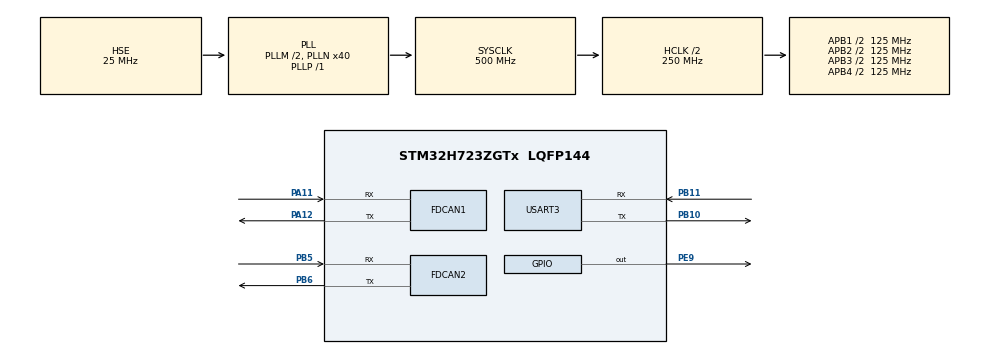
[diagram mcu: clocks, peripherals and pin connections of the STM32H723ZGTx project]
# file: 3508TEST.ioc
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CORTEX_M7.default_mode_Activation=1
FDCAN1.CalculateBaudRateNominal=1000000
FDCAN1.CalculateTimeBitNominal=1000
FDCAN1.CalculateTimeQuantumNominal=8.0
FDCAN1.NominalPrescaler=1
FDCAN1.NominalTimeSeg1=99
FDCAN1.NominalTimeSeg2=25
FDCAN1.RxFifo0ElmtsNbr=2
FDCAN1.StdFiltersNbr=1
FDCAN2.CalculateBaudRateNominal=1000000
FDCAN2.CalculateTimeBitNominal=1000
FDCAN2.CalculateTimeQuantumNominal=8.0
FDCAN2.NominalPrescaler=1
FDCAN2.NominalTimeSeg1=99
FDCAN2.NominalTimeSeg2=25
FDCAN2.RxFifo0ElmtsNbr=2
FDCAN2.StdFiltersNbr=1
FDCAN2.TxFifoQueueElmtsNbr=2
Mcu.Family=STM32H7
Mcu.Name=STM32H723ZGTx
Mcu.Package=LQFP144
NVIC.FDCAN1_IT0_IRQn=true\:0\:0\:false\:false\:true\:true\:true\:true
NVIC.FDCAN2_IT0_IRQn=true\:0\:0\:false\:false\:true\:true\:true\:true
NVIC.PriorityGroup=NVIC_PRIORITYGROUP_4
NVIC.TIM1_UP_IRQn=true\:0\:0\:false\:false\:true\:true\:true\:true
NVIC.USART3_IRQn=true\:0\:0\:false\:false\:true\:true\:true\:true
PA11.Mode=FDCAN_Activate
PA11.Signal=FDCAN1_RX
PA12.Mode=FDCAN_Activate
PA12.Signal=FDCAN1_TX
PA13(JTMS/SWDIO).Mode=Serial_Wire
PA13(JTMS/SWDIO).Signal=DEBUG_JTMS-SWDIO
PA14(JTCK/SWCLK).Mode=Serial_Wire
PA14(JTCK/SWCLK).Signal=DEBUG_JTCK-SWCLK
PB10.Mode=Asynchronous
PB10.Signal=USART3_TX
PB11.Mode=Asynchronous
PB11.Signal=USART3_RX
PB5.Mode=FDCAN_Activate
PB5.Signal=FDCAN2_RX
PB6.Mode=FDCAN_Activate
PB6.Signal=FDCAN2_TX
PE9.Signal=GPIO_Output
PH0-OSC_IN.Mode=HSE-External-Oscillator
PH0-OSC_IN.Signal=RCC_OSC_IN
PH1-OSC_OUT.Mode=HSE-External-Oscillator
PH1-OSC_OUT.Signal=RCC_OSC_OUT
ProjectManager.HeapSize=0x200
ProjectManager.StackSize=0x400
ProjectManager.TargetToolchain=MDK-ARM V5.32
RCC.ADCFreq_Value=50390625
RCC.APB1Freq_Value=125000000
RCC.APB2Freq_Value=125000000
RCC.APB3Freq_Value=125000000
RCC.APB4Freq_Value=125000000
RCC.CortexFreq_Value=500000000
RCC.D1PPRE=RCC_APB3_DIV2
RCC.D2PPRE1=RCC_APB1_DIV2
RCC.D2PPRE2=RCC_APB2_DIV2
RCC.D3PPRE=RCC_APB4_DIV2
RCC.DIVM1=2
RCC.DIVN1=40
RCC.DIVP1=1
RCC.DIVQ1=4
RCC.HCLKFreq_Value=250000000
RCC.HPRE=RCC_HCLK_DIV2
RCC.PLLFRACN=0
RCC.PLLSourceVirtual=RCC_PLLSOURCE_HSE
RCC.SYSCLKFreq_VALUE=500000000
RCC.SYSCLKSource=RCC_SYSCLKSOURCE_PLLCLK
RCC.USBFreq_Value=125000000
TIM1.Period=999
TIM1.Prescaler=249
USART3.VirtualMode-Asynchronous=VM_ASYNC
VP_MEMORYMAP_VS_MEMORYMAP.Mode=CurAppReg
VP_TIM1_VS_ClockSourceINT.Mode=Internal
board=custom

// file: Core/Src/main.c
/* USER CODE BEGIN Header */
/**
  ******************************************************************************
  * @file           : main.c
  * @brief          : Main program body
  ******************************************************************************
  * @attention
  *
  * Copyright (c) 2026 STMicroelectronics.
  * All rights reserved.
  *
  * This software is licensed under terms that can be found in the LICENSE file
  * in the root directory of this software component.
  * If no LICENSE file comes with this software, it is provided AS-IS.
  *
  ******************************************************************************
  */
/* USER CODE END Header */
#include "main.h"
#include "fdcan.h"
#include "tim.h"
#include "usart.h"
#include "gpio.h"

/* USER CODE BEGIN Includes */
#include "motor_control.h"
#include "pid.h"
#include "stdio.h"
/* USER CODE END Includes */

/* USER CODE BEGIN PD */
#define ANGLE_DEG_TO_RAW(deg)  ((deg) / 360.0f * 8192.0f)//这是角度环相关的宏定义
#define ANGLE_RAW_TO_DEG(raw)  ((raw) * 360.0f /8192.0f)//这是角度环相关的宏定义
//状态机与目标位置
typedef enum {
    STATE_INIT,           // 初始位置（最底下）
    STATE_GO_TO_POS1,     // 前往第一个高度（任务一三层高）
    STATE_HOLD_POS1,      // 在第一个高度保持（三层）
    STATE_GO_TO_POS2,     // 前往第二个高度（最高）
    STATE_HOLD_POS2,      // 在第二个高度保持（最高）
	  STATE_GO_TO_POS3,     // 前往第二个高度（最高）
    STATE_HOLD_POS3,
	STATE_GO_TO_POS4,     // 前往第二个高度（最高）
    STATE_HOLD_POS4,
	STATE_GO_TO_POS5,     // 前往第二个高度（最高）
    STATE_HOLD_POS5,
    STATE_GO_BACK,        // 回到初始高度（最下面？）
    STATE_HOLD_BACK       // 在初始高度保持（完成）
} MotorState_t;
//定义高度的圈数，先用圈数，后面再换高度吧
#define POS_INITIAL  0.0f     // 初始位置（0圈）
#define POS_LEVEL1   123.2f     // 第一个高度（1.5圈）
#define POS_LEVEL2   0.0f  // 第二个高度（3.0圈）这个数据是乱写的，别懒，去量
#define POS_LEVEL3   0.0f
//测试用保持时间，在某处暂停，后续看反馈
#define HOLD_TIME_MS 5000//停留5s
//位置到达判定阈值（没看懂这半圈是干嘛的）
#define POS_TOLERANCE 0.5f
#define GRAVITY_COMPENSATION  755.0   // 抵消重力用的前馈 755.0
#include "stm32h7xx.h"                  // Device header
#define MAX_FEEDFORWARD_LIMIT  (CURRENT_MAX * 0.6f)//前馈限幅
/* USER CODE END PD */

/* USER CODE BEGIN PV */
static uint32_t loop_counter = 0;
float  setpoint= 2500;//这个会被位置环输出覆盖的
PID_Handle_t speed_pid;
PID_Handle_t pos_pid;                   //这是角度环相关的宏定义

MotorState_t motor_state = STATE_INIT;      // 当前状态
uint32_t hold_start_tick = 0;               // 进入保持时刻
float target_revolutions =0.0f;     // 当前目标圈数（位置环设定值）float target_revolutions = POS_INITIAL;
float current_revolutions = 0.0f;   // 当前圈数，是累计吗？
uint16_t last_angle = 0;
int32_t total_rounds = 0;
uint8_t first_angle_flag = 1;
float gravity_feedforward = 0;
float gf_unloaded = 755.0f;    // 空载前馈（你之前测的值）
float gf_loaded = 1150.0f;      // 带载前馈（刚测出来的）
float target_gf = 755.0f;       // 目标前馈值（用于斜坡过渡）
float gf_step = 10.0f;          // 每 10ms 变化步长（mA）

//串口接受用
uint8_t uart_rx_buffer[1];     // 单字节接收缓存
char uart_cmd_buffer[64];           // 命令字符串缓存
uint8_t cmd_index = 0;       // 当前缓存位置
volatile uint8_t uart_cmd_ready = 0; //标志位，收到1代表收到完整命令
//uint8_t control_mode = 1;              //多环控制用到的，测试调pid的时候记得注释掉

float speed_target = 0.0f;
float output = 0.0f;
extern volatile uint8_t new_feedback_available;
/* USER CODE END PV */

void SystemClock_Config(void);
static void MPU_Config(void);

int main(void)
{

  /* USER CODE BEGIN 1 */
	//int16_t last_current = 0;   //上次发送的电流
  /* USER CODE END 1 */

  /* MPU Configuration--------------------------------------------------------*/
  MPU_Config();

  /* MCU Configuration--------------------------------------------------------*/

  /* Reset of all peripherals, Initializes the Flash interface and the Systick. */
  HAL_Init();

  /* USER CODE BEGIN Init */
//float  setpoint= 1000;
  /* USER CODE END Init */

  /* Configure the system clock */
  SystemClock_Config();

  /* Initialize all configured peripherals */
  MX_GPIO_Init();
  MX_FDCAN1_Init();
  MX_FDCAN2_Init();
  MX_USART3_UART_Init();
  MX_TIM1_Init();
  /* USER CODE BEGIN 2 */
    Motor_Init();      // ����CAN������ motor_control.c ��ĺ�����
			HAL_TIM_Base_Start_IT(&htim1);
    PID_Init(&speed_pid, 5.0f, 0.3f, 0.05f, 8000.0f);//这个是具体的pid值，然后就是kp小了第一版值是0.5，现在要调大一点？ 1.8f, 0.6f, 0.03f,8000.0f

PID_Init(&pos_pid, 250.0f, 0.05f, 6.0f, 5500.0f); //这是角度环相关的pid参数200 0.02 0.8
HAL_UART_Receive_IT(&huart3, uart_rx_buffer, 1); //串口接受pid参数用于调参
  /* USER CODE END 2 */

  /* Infinite loop */
  /* USER CODE BEGIN WHILE */
  while (1)
  {
		/*  if (uart_cmd_ready == 1)
    {
        uart_cmd_ready = 0;
        parse_uart_command(uart_cmd_buffer);  // 改 PID 参数
    }*/
			// Motor_SendCurrent((int16_t)output);
			//下面的是串口打印用的
			loop_counter++;
    if (loop_counter >= 20) {
        loop_counter = 0;
        // 打印当前状态，如果反馈标志为0则提示，但不要刷屏
         static uint8_t no_fb_cnt = 0;

        if (new_feedback_available == 1) {
            // 有新反馈，打印数据
            new_feedback_available = 0;   // 清除标志
            no_fb_cnt = 0;                // 重置无反馈计数
            printf("%.2f,%.2f,%.1f,%.1f,%.1f\r\n",
                   target_revolutions,
                   current_revolutions,
                   setpoint,
                   (float)motor_feedback_data.speed_rpm,
                   output);
        } else {
            // 无新反馈，累计警告
            no_fb_cnt++;
            if (no_fb_cnt >= 10) {
							// 连续10次（2秒）无反馈才警告
                no_fb_cnt = 0;
                printf("Warning: No CAN feedback\n");
            }
        }
			}
    /* USER CODE END WHILE */

  }
}

void SystemClock_Config(void)
{
  RCC_OscInitTypeDef RCC_OscInitStruct = {0};
  RCC_ClkInitTypeDef RCC_ClkInitStruct = {0};

  /** Supply configuration update enable
  */
  HAL_PWREx_ConfigSupply(PWR_LDO_SUPPLY);

  /** Configure the main internal regulator output voltage
  */
  __HAL_PWR_VOLTAGESCALING_CONFIG(PWR_REGULATOR_VOLTAGE_SCALE0);

  while(!__HAL_PWR_GET_FLAG(PWR_FLAG_VOSRDY)) {}

  /** Initializes the RCC Oscillators according to the specified parameters
  * in the RCC_OscInitTypeDef structure.
  */
  RCC_OscInitStruct.OscillatorType = RCC_OSCILLATORTYPE_HSE;
  RCC_OscInitStruct.HSEState = RCC_HSE_ON;
  RCC_OscInitStruct.PLL.PLLState = RCC_PLL_ON;
  RCC_OscInitStruct.PLL.PLLSource = RCC_PLLSOURCE_HSE;
  RCC_OscInitStruct.PLL.PLLM = 2;
  RCC_OscInitStruct.PLL.PLLN = 40;
  RCC_OscInitStruct.PLL.PLLP = 1;
  RCC_OscInitStruct.PLL.PLLQ = 4;
  RCC_OscInitStruct.PLL.PLLR = 2;
  RCC_OscInitStruct.PLL.PLLRGE = RCC_PLL1VCIRANGE_3;
  RCC_OscInitStruct.PLL.PLLVCOSEL = RCC_PLL1VCOWIDE;
  RCC_OscInitStruct.PLL.PLLFRACN = 0;
  if (HAL_RCC_OscConfig(&RCC_OscInitStruct) != HAL_OK)
  {
    Error_Handler();
  }

  /** Initializes the CPU, AHB and APB buses clocks
  */
  RCC_ClkInitStruct.ClockType = RCC_CLOCKTYPE_HCLK|RCC_CLOCKTYPE_SYSCLK
                              |RCC_CLOCKTYPE_PCLK1|RCC_CLOCKTYPE_PCLK2
                              |RCC_CLOCKTYPE_D3PCLK1|RCC_CLOCKTYPE_D1PCLK1;
  RCC_ClkInitStruct.SYSCLKSource = RCC_SYSCLKSOURCE_PLLCLK;
  RCC_ClkInitStruct.SYSCLKDivider = RCC_SYSCLK_DIV1;
  RCC_ClkInitStruct.AHBCLKDivider = RCC_HCLK_DIV2;
  RCC_ClkInitStruct.APB3CLKDivider = RCC_APB3_DIV2;
  RCC_ClkInitStruct.APB1CLKDivider = RCC_APB1_DIV2;
  RCC_ClkInitStruct.APB2CLKDivider = RCC_APB2_DIV2;
  RCC_ClkInitStruct.APB4CLKDivider = RCC_APB4_DIV2;

  if (HAL_RCC_ClockConfig(&RCC_ClkInitStruct, FLASH_LATENCY_3) != HAL_OK)
  {
    Error_Handler();
  }
}

/* USER CODE BEGIN 4 */

void Update_Current_Revolutions(uint16_t new_angle)
{
    // 首次上电：记录初始角度，累计圈数从0开始
       if (first_angle_flag) {
        last_angle = new_angle;
        total_rounds = 0;
        current_revolutions = (float)new_angle / 8192.0f;
        first_angle_flag = 0;
        return;
    }

    // ★★★ 关键修复：使用 int32_t 计算差值，避免截断 ★★★
    int32_t delta = (int32_t)new_angle - (int32_t)last_angle;

    // 如果变化超过半圈，说明跨过了 0 点
    if (delta >  4096) {
        total_rounds--;   // 反向跨过0（角度减小）
    } else if (delta < -4096) {
        total_rounds++;   // 正向跨过0（角度增大）
    }

    // 更新上次角度
    last_angle = new_angle;

    // 当前总圈数 = 整数圈 + 当前单圈百分比
    current_revolutions = (float)total_rounds + (float)new_angle / 8192.0f;
}

//串口信息接受
void parse_uart_command(char *cmd)
{
    char key[10];
    float value = 0.0f;

    // 尝试解析 "key value" 格式（例如 "kp 1.5"）
    if (sscanf(cmd, "%s %f", key, &value) == 2)
    {
        // 位置环的pid
        if (strcmp(key, "kp") == 0)      speed_pid.Kp = value;
        else if (strcmp(key, "ki") == 0) speed_pid.Ki = value;
        else if (strcmp(key, "kd") == 0) speed_pid.Kd = value;

        // 位置环
        else if (strcmp(key, "pkp") == 0) pos_pid.Kp = value;
        else if (strcmp(key, "pki") == 0) pos_pid.Ki = value;
        else if (strcmp(key, "pkd") == 0) pos_pid.Kd = value;

        //重力前馈
        else if (strcmp(key, "gf") == 0)  gravity_feedforward = value;

        // 发送当前数据到电脑
        else if (strcmp(key, "show") == 0)
        {
            printf("Speed: Kp=%.2f Ki=%.2f Kd=%.4f\r\n", speed_pid.Kp, speed_pid.Ki, speed_pid.Kd);
            printf("Pos:   Kp=%.2f Ki=%.2f Kd=%.4f\r\n", pos_pid.Kp, pos_pid.Ki, pos_pid.Kd);
            printf("Gravity FF: %.2f mA\r\n", gravity_feedforward);
        }
        else
        {
            printf("Unknown cmd: %s\r\n", key);
        }
    }
    else
    {
        printf("Format error, use: kp 1.5\r\n");
    }
}

void HAL_UART_RxCpltCallback(UART_HandleTypeDef *huart)
{
    if (huart->Instance == USART3)
    {
        char c = uart_rx_buffer[0];

        // 遇到换行符（回车或换行），结束一条命令
        if (c == '\r' || c == '\n')
        {
            if (cmd_index > 0)
            {
               uart_cmd_buffer[cmd_index] = '\0';        // 字符串结尾
                parse_uart_command(uart_cmd_buffer);      // 解析命令
                cmd_index = 0;                       // 复位缓存
            }
        }
        else
        {
            // 普通字符，存入缓存（防止溢出）
            if (cmd_index < 63)
            {
                uart_cmd_buffer[cmd_index++] = c;
            }
        }

        // 记得重启下一次接受
        HAL_UART_Receive_IT(&huart3, uart_rx_buffer, 1);
    }
}

// 定义一个标志，用于通知主循环执行控制
volatile uint8_t timer1_tick = 0;

// TIM1 周期中断回调（由 HAL 库在 TIM1_UP_IRQHandler 中调用）
void HAL_TIM_PeriodElapsedCallback(TIM_HandleTypeDef *htim)
{
    if (htim->Instance == TIM1)
    {

			if (motor_update_flag == 1)
    {
        motor_update_flag = 0;
			Update_Current_Revolutions(motor_feedback_data.angle);
			//电机状态切换，等会先测转一圈多少
			// ★ 前馈平滑过渡（每 10ms 执行一次）
if (gravity_feedforward < target_gf) {
    gravity_feedforward += gf_step;
    if (gravity_feedforward > target_gf) gravity_feedforward = target_gf;
} else if (gravity_feedforward > target_gf) {
    gravity_feedforward -= gf_step;
    if (gravity_feedforward < target_gf) gravity_feedforward = target_gf;
}

// 然后用 gravity_feedforward 作为前馈值
float feedforward = gravity_feedforward;
			switch (motor_state)
{
    case STATE_INIT:
			  target_gf = gf_unloaded;
        motor_state = STATE_GO_TO_POS1;//初始化完成后直接进入状态一
        break;

    case STATE_GO_TO_POS1:
    {
        static uint8_t target_locked = 0;  // 使用静态变量，保证进入此状态只计算一次？没看懂
        if (target_locked == 0) {
            target_revolutions = current_revolutions + POS_LEVEL1; // 当前位置 +123.3圈
            target_locked = 1;
        }
        if (fabsf(current_revolutions - target_revolutions) < POS_TOLERANCE) {
            target_locked = 0;         //解锁进入下一个状态
            motor_state = STATE_HOLD_POS1;
            hold_start_tick = HAL_GetTick();
        }
    }
    break;

    case STATE_HOLD_POS1:
       if (HAL_GetTick() - hold_start_tick >= HOLD_TIME_MS) {
        /*  motor_state = STATE_GO_TO_POS2; //固定秒数后进入下一阶段，具体情况是收其他人的信号
				   target_gf = gf_loaded;//最好是吸盘完成后*/
        }
        break;

    case STATE_GO_TO_POS2:
    {
        static uint8_t target_locked_2 = 0;
        if (target_locked_2 == 0) {
            // 注意：此时 current_revolutions 已经在 1.5 圈位置
            // 再往上走 1.5 圈，正好到达 3.0 圈（即 POS_LEVEL2）
            target_revolutions = current_revolutions + 81.8; //1.0是随便写的，还要改
            target_locked_2 = 1;
        }
        if (fabsf(current_revolutions - target_revolutions) < POS_TOLERANCE) {
            target_locked_2 = 0;
            motor_state = STATE_HOLD_POS2;
            hold_start_tick = HAL_GetTick();
        }
    }
    break;

    case STATE_HOLD_POS2:
        if (HAL_GetTick() - hold_start_tick >= HOLD_TIME_MS) {
            motor_state =STATE_GO_TO_POS3; // 5秒后回到初始位置
        }
        break;

   case STATE_GO_TO_POS3:
{
    static uint8_t target_locked_3 = 0;
    if (target_locked_3 == 0) {
        target_revolutions = current_revolutions -81.8f; //第三个位置是从位置在往下几圈
        target_locked_3 = 1;
    }
    if (fabsf(current_revolutions - target_revolutions) < POS_TOLERANCE) {
        target_locked_3 = 0;
        motor_state = STATE_HOLD_POS3;   // 切换到保持状态
        hold_start_tick = HAL_GetTick();
    }
}
break;

case STATE_HOLD_POS3:
    if (HAL_GetTick() - hold_start_tick >= HOLD_TIME_MS) {
        // 在 POS3 保持5秒后，再统一回到初始位置（调用 GO_BACK）
			  //target_gf = gf_unloaded;//放下箱子后
        motor_state = STATE_GO_TO_POS4;
    }
    break;

  case STATE_GO_TO_POS4:
{
    static uint8_t target_locked_3 = 0;
    if (target_locked_3 == 0) {
        target_revolutions = current_revolutions -72.0f; //第三个位置是从位置在往下几圈
        target_locked_3 = 1;
    }
    if (fabsf(current_revolutions - target_revolutions) < POS_TOLERANCE) {
        target_locked_3 = 0;
        motor_state = STATE_HOLD_POS4;   // 切换到保持状态
        hold_start_tick = HAL_GetTick();
    }
}
break;
		case STATE_HOLD_POS4:
    if (HAL_GetTick() - hold_start_tick >= HOLD_TIME_MS) {
        // 在 POS3 保持5秒后，再统一回到初始位置（调用 GO_BACK）
			//  target_gf = gf_loaded;//吸盘吸到后
        motor_state = STATE_GO_TO_POS5;
    }
    break;

		  case STATE_GO_TO_POS5:
{
    static uint8_t target_locked_3 = 0;
    if (target_locked_3 == 0) {
        target_revolutions = current_revolutions +108.0f; //第三个位置是从位置在往下几圈
        target_locked_3 = 1;
    }
    if (fabsf(current_revolutions - target_revolutions) < POS_TOLERANCE) {
        target_locked_3 = 0;
        motor_state = STATE_HOLD_POS5;   // 切换到保持状态
        hold_start_tick = HAL_GetTick();
    }
}
break;
		case STATE_HOLD_POS5:

    break;
    default:
        break;
}

		/*	static uint8_t target_locked = 0;
    if (target_locked == 0) {
        target_revolutions = current_revolutions+36.0;
        target_locked = 1;
    }
				*/

    float speed_target = PID_Calculate(&pos_pid, target_revolutions, current_revolutions);
    // 限幅（防止速度目标过大）
    if (speed_target > 5000.0f) speed_target = 5000.0f;
  if (speed_target < -4500.0f) speed_target = -4500.0f;
   setpoint = speed_target;
		//float speed_target=-500.0;
		//setpoint=speed_target;

			//这个在速度环里也要用，不要注释掉了（下）
             output = PID_Calculate(&speed_pid, setpoint, motor_feedback_data.speed_rpm);
				// 添加pid前馈

		if (speed_target < -10.0) {
    feedforward=gravity_feedforward*0.6;
}
//前馈的限幅保护
         if (feedforward > MAX_FEEDFORWARD_LIMIT) feedforward = MAX_FEEDFORWARD_LIMIT;
         if (feedforward < -MAX_FEEDFORWARD_LIMIT) feedforward = -MAX_FEEDFORWARD_LIMIT;
				//电流输出变成了pid前馈加上动态调节
         int16_t final_current = (int16_t)(output + feedforward);
				//总限幅
				if (final_current > CURRENT_MAX) final_current = CURRENT_MAX;
if (final_current < CURRENT_MIN) final_current = CURRENT_MIN;
               Motor_SendCurrent(final_current);
       // timer1_tick = 1;  			// 置位标志，主循环检测到后执行一次控制

    }
}
}

/* USER CODE END 4 */

 /* MPU Configuration */

void MPU_Config(void)
{
  MPU_Region_InitTypeDef MPU_InitStruct = {0};

  /* Disables the MPU */
  HAL_MPU_Disable();

  /** Initializes and configures the Region and the memory to be protected
  */
  MPU_InitStruct.Enable = MPU_REGION_ENABLE;
  MPU_InitStruct.Number = MPU_REGION_NUMBER0;
  MPU_InitStruct.BaseAddress = 0x0;
  MPU_InitStruct.Size = MPU_REGION_SIZE_4GB;
  MPU_InitStruct.SubRegionDisable = 0x87;
  MPU_InitStruct.TypeExtField = MPU_TEX_LEVEL0;
  MPU_InitStruct.AccessPermission = MPU_REGION_NO_ACCESS;
  MPU_InitStruct.DisableExec = MPU_INSTRUCTION_ACCESS_DISABLE;
  MPU_InitStruct.IsShareable = MPU_ACCESS_SHAREABLE;
  MPU_InitStruct.IsCacheable = MPU_ACCESS_NOT_CACHEABLE;
  MPU_InitStruct.IsBufferable = MPU_ACCESS_NOT_BUFFERABLE;

  HAL_MPU_ConfigRegion(&MPU_InitStruct);
  /* Enables the MPU */
  HAL_MPU_Enable(MPU_PRIVILEGED_DEFAULT);

}

void Error_Handler(void)
{
  __disable_irq();
  while (1)
  {
  }
}
